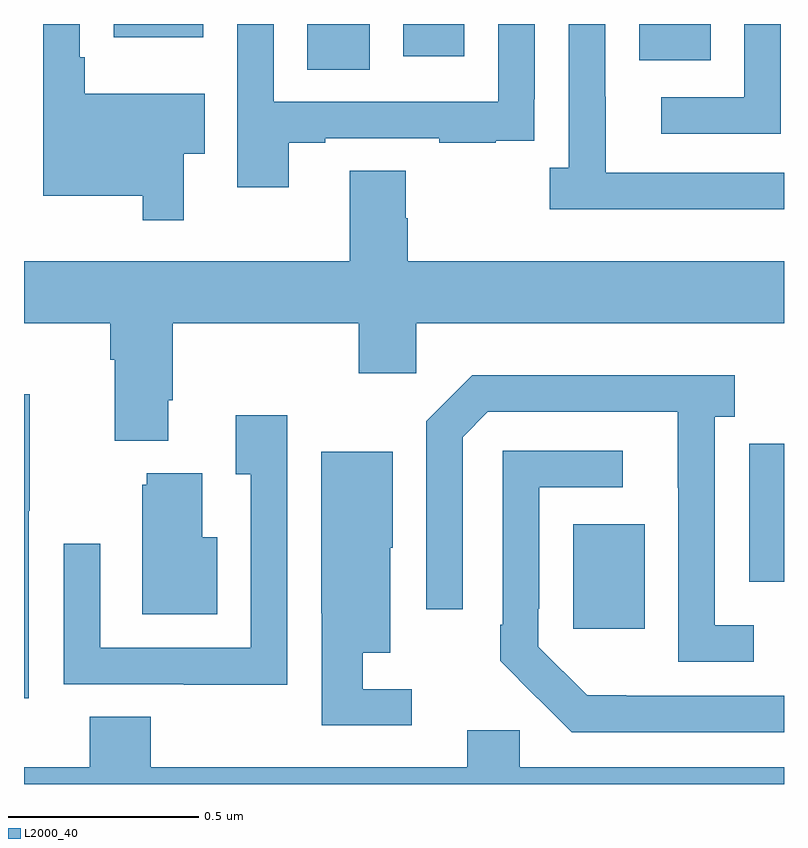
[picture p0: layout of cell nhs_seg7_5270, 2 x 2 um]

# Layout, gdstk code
import gdstk
lib = gdstk.Library(unit=1e-6, precision=1e-09)
def R(c, l, rs):  # rectangles x0, y0, x1, y1
    for r in rs: c.add(gdstk.rectangle(r[:2], r[2:], *l))
def P(c, l, *ps):  # polygons
    for p in ps: c.add(gdstk.Polygon(p, *l))
L2000_40 = (2000, 40)

nhs_seg7_5270 = lib.new_cell('nhs_seg7_5270')
R(nhs_seg7_5270, L2000_40, [(184.445,1070.409,184.633,1070.683), (183.746,1071.88,183.91,1072), (184.619,1071.905,184.807,1072), (183.998,1071.915,184.159,1072), (183.236,1071.965,183.472,1072)])
P(nhs_seg7_5270, L2000_40, [(185,1071.609),(184.531,1071.609),(184.531,1071.809),(184.53,1071.809),(184.53,1072),(184.434,1072),(184.434,1071.622),(184.383,1071.622),(184.383,1071.512),(185,1071.512)],
  [(184.992,1072),(184.896,1072),(184.896,1071.807),(184.677,1071.807),(184.677,1071.711),(184.992,1071.711)],
  [(183.697,1071.687),(183.793,1071.687),(183.793,1071.699),(184.093,1071.699),(184.093,1071.687),(184.241,1071.687),(184.241,1071.693),(184.343,1071.693),(184.343,1071.802),(184.344,1071.802),(184.344,1072),(184.248,1072),(184.248,1071.795),(183.657,1071.795),(183.657,1072),(183.561,1072),(183.561,1071.57),(183.697,1071.57)],
  [(183.421,1071.659),(183.475,1071.659),(183.475,1071.817),(183.16,1071.817),(183.16,1071.913),(183.147,1071.913),(183.147,1072),(183.05,1072),(183.05,1071.548),(183.312,1071.548),(183.312,1071.483),(183.421,1071.483)],
  [(183.379,1071.01),(183.392,1071.01),(183.392,1071.212),(183.881,1071.212),(183.881,1071.081),(184.032,1071.081),(184.032,1071.212),(185,1071.212),(185,1071.376),(184.01,1071.376),(184.01,1071.489),(184.005,1071.489),(184.005,1071.614),(183.857,1071.614),(183.857,1071.376),(183,1071.376),(183,1071.212),(183.227,1071.212),(183.227,1071.116),(183.239,1071.116),(183.239,1070.903),(183.379,1070.903)],
  [(184.921,1070.418),(184.818,1070.418),(184.818,1070.966),(184.87,1070.966),(184.87,1071.076),(184.18,1071.076),(184.059,1070.955),(184.059,1070.46),(184.155,1070.46),(184.155,1070.913),(184.221,1070.979),(184.721,1070.979),(184.721,1070.779),(184.722,1070.779),(184.722,1070.322),(184.921,1070.322)],
  [(183.012,1070.719),(183.015,1070.719),(183.015,1071.026),(183,1071.026),(183,1070.226),(183.012,1070.226)],
  [(183.693,1070.971),(183.557,1070.971),(183.557,1070.815),(183.597,1070.815),(183.597,1070.358),(183.201,1070.358),(183.201,1070.632),(183.105,1070.632),(183.105,1070.262),(183.421,1070.262),(183.421,1070.261),(183.693,1070.261)],
  [(185,1070.895),(184.909,1070.895),(184.909,1070.786),(184.908,1070.786),(184.908,1070.532),(185,1070.532)],
  [(185,1070.232),(184.585,1070.232),(184.585,1070.233),(184.482,1070.233),(184.353,1070.361),(184.353,1070.461),(184.356,1070.461),(184.356,1070.781),(184.576,1070.781),(184.576,1070.877),(184.26,1070.877),(184.26,1070.419),(184.253,1070.419),(184.253,1070.324),(184.35,1070.226),(184.351,1070.227),(184.442,1070.136),(185,1070.136)],
  [(184.021,1070.25),(183.892,1070.25),(183.892,1070.345),(183.964,1070.345),(183.964,1070.622),(183.97,1070.622),(183.97,1070.875),(183.782,1070.875),(183.782,1070.449),(183.783,1070.449),(183.783,1070.154),(184.021,1070.154)],
  [(183.508,1070.65),(183.469,1070.65),(183.469,1070.818),(183.323,1070.818),(183.323,1070.787),(183.311,1070.787),(183.311,1070.447),(183.508,1070.447)],
  [(185,1070.044),(184.305,1070.044),(184.305,1070.142),(184.166,1070.142),(184.166,1070.044),(183.333,1070.044),(183.333,1070.177),(183.173,1070.177),(183.173,1070.044),(183,1070.044),(183,1070),(185,1070)])

lib.write_gds('nhs_seg7_5270.gds')
